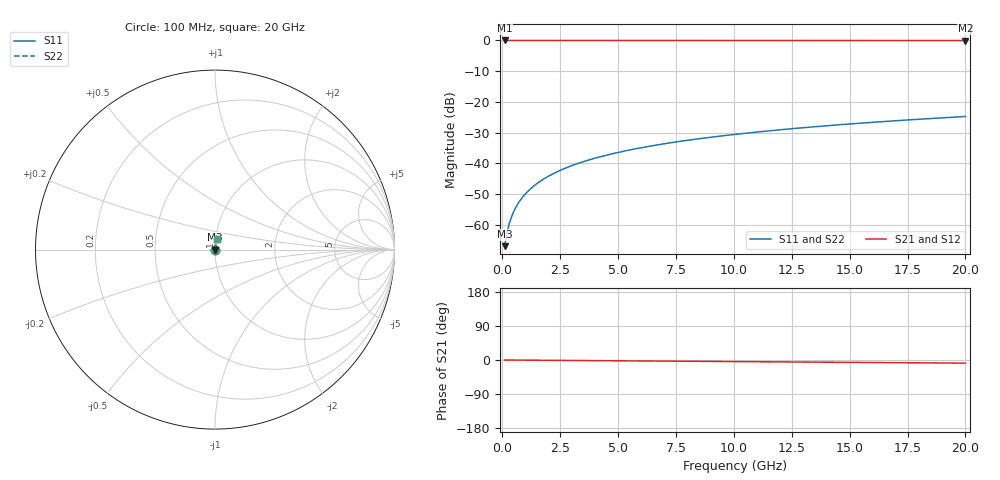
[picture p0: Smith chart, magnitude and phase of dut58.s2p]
! Touchstone file exported from HFSS 2026.1.0
!  File:  C:/ffzhzh/LocalFiles/Ansys_Project_Files/temp_train_TSV_58_1782958970_45568.aedt
!  Generated:  10:24:25 AM Jul  2, 2026
!  Design:  TSV
!  Project:  temp_train_TSV_58_1782958970_45568
! Variables:
!  h_bsmrdl = 2um
!  h_ox = 20um
!  h_rdl = 5um
!  h_sub = 74.11um
!  h_tmrdl = 5um
!  h_tsv = 74.11um
!  h_via = 3um
!  l_bsmrdl = 300um
!  l_sub = 411.2um
!  l_tmrdl = 200um
!  m_sub = 200um
!  pitch = 41.11um
!  r_tsv = 5.6um
!  s_tmrdl = 10um
!  w_bsmrdl = 18um
!  w_sub = 500um
!  w_tmrdl = 12um
!  x_tsv_center1 = 206um
!  x_tsv_center2 = 524um
!  x_tsv_center3 = 736um
!  x_tsv_center4 = 1054um
!  x_tsv_center5 = 1266um
!  x_tsv_center6 = 1584um
# GHz S MA R 50.000000
! Terminal data exported
! Port[1] = TSV1_1_T1
! Port[2] = TSV1_1_T2
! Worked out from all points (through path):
!   200 points, 100 MHz to 20 GHz, reference 50 ohm
!   highest |S21| = 0.00 dB at 100 MHz (marker M1); lowest = 0.0 dB at 20 GHz (marker M2)
!   group delay of S21, straight-line fit = 1.15 ps
!   lowest |S11| = -66.9 dB at 100 MHz (marker M3), VSWR 1.00, Z = 50 + j0.0332 ohm
!   |S11| at or under -10 dB: start of sweep to end of sweep
!   |S22| runs from -66.9 to -24.7 dB; largest |S21 - S12| = 4.2e-15
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0.1  0.0004503 47.5  0.9997 -0.0  0.9997 -0.0  0.0004503 47.5
! Gamma 0 0 0 0
! Port Impedance 50 0 50 0
0.2  0.0007326 64.6  0.9997 -0.1  0.9997 -0.1  0.0007326 64.6
0.3  0.001041 71.5  0.9997 -0.1  0.9997 -0.1  0.001041 71.5
0.4  0.001355 75.1  0.9997 -0.2  0.9997 -0.2  0.001355 75.1
0.5  0.001668 77.2  0.9996 -0.2  0.9996 -0.2  0.001668 77.2
0.7  0.002286 79.6  0.9996 -0.3  0.9996 -0.3  0.002286 79.6
0.8  0.002593 80.3  0.9996 -0.3  0.9996 -0.3  0.002593 80.3
1  0.003201 81.5  0.9995 -0.4  0.9995 -0.4  0.003201 81.5
1.2  0.003805 82.2  0.9995 -0.5  0.9995 -0.5  0.003805 82.2
1.4  0.004408 82.8  0.9995 -0.6  0.9995 -0.6  0.004408 82.8
1.7  0.005309 83.4  0.9994 -0.7  0.9994 -0.7  0.005309 83.4
2  0.006209 83.8  0.9994 -0.8  0.9994 -0.8  0.006209 83.8
2.7  0.0083 84.3  0.9993 -1.1  0.9993 -1.1  0.0083 84.3
3.5  0.01067 84.5  0.9992 -1.5  0.9992 -1.5  0.01067 84.5
4.2  0.01273 84.5  0.9991 -1.8  0.9991 -1.8  0.01273 84.5
5  0.01507 84.4  0.999 -2.1  0.999 -2.1  0.01507 84.4
6.8  0.0203 84.1  0.9987 -2.8  0.9987 -2.8  0.0203 84.1
8.3  0.02462 83.8  0.9985 -3.5  0.9985 -3.5  0.02462 83.8
10.1  0.0298 83.3  0.9982 -4.2  0.9982 -4.2  0.0298 83.3
13.4  0.03924 82.3  0.9977 -5.6  0.9977 -5.6  0.03924 82.3
16.7  0.04862 81.1  0.9972 -6.9  0.9972 -6.9  0.04862 81.1
20  0.05793 79.9  0.9965 -8.3  0.9965 -8.3  0.05793 79.9
